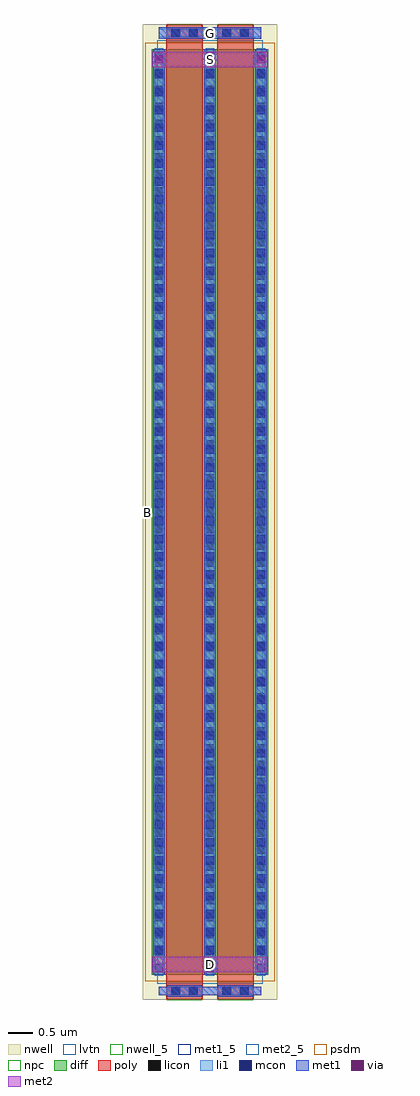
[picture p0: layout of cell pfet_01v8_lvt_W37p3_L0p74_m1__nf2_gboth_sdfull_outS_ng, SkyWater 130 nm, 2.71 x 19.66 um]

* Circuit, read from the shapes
.subckt pfet_01v8_lvt_W37p3_L0p74_m1__nf2_gboth_sdfull_outS_ng B D G S
XM1 D G S B sky130_fd_pr__pfet_01v8_lvt w=18.65 l=0.74 m=2
.ends

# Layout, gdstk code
import gdstk
lib = gdstk.Library(unit=1e-6, precision=1e-09)
def R(c, l, rs):  # rectangles x0, y0, x1, y1
    for r in rs: c.add(gdstk.rectangle(r[:2], r[2:], *l))
def A(c, l, x, y, w, h, nx, ny, dx, dy):  # array of equal rectangles
    R(c, l, [(x+i*dx, y+j*dy, x+i*dx+w, y+j*dy+h) for i in range(nx) for j in range(ny)])
nwell_5 = (64, 5)
nwell = (64, 20)
diff = (65, 20)
poly = (66, 20)
licon = (66, 44)
li1 = (67, 20)
mcon = (67, 44)
met1_5 = (68, 5)
met1 = (68, 20)
via = (68, 44)
met2_5 = (69, 5)
met2 = (69, 20)
psdm = (94, 20)
npc = (95, 20)
lvtn = (125, 44)

sky130_fd_pr__pfet_01v8_ = lib.new_cell('sky130_fd_pr__pfet_01v8_lvt_AA4QHS')
R(sky130_fd_pr__pfet_01v8_, nwell, [(-1.355,-9.825,1.355,9.825)])
R(sky130_fd_pr__pfet_01v8_, diff, [(-1.175,-9.325,1.175,9.325)])
R(sky130_fd_pr__pfet_01v8_, poly, [(-0.885,-9.81,-0.145,9.81), (0.145,-9.81,0.885,9.81)])
A(sky130_fd_pr__pfet_01v8_, licon, -1.115, -9.265, 0.17, 0.17, 3, 55, 1.03, 0.34)
R(sky130_fd_pr__pfet_01v8_, licon, [(-0.77,-9.73,-0.6,-9.56), (-0.43,-9.73,-0.26,-9.56), (0.26,-9.73,0.43,-9.56), (0.6,-9.73,0.77,-9.56), (-0.77,9.56,-0.6,9.73), (-0.43,9.56,-0.26,9.73), (0.26,9.56,0.43,9.73), (0.6,9.56,0.77,9.73)])
A(sky130_fd_pr__pfet_01v8_, li1, -1.115, -9.345, 0.17, 18.69, 3, 1, 1.03, 0)
R(sky130_fd_pr__pfet_01v8_, li1, [(-1.03,-9.73,1.03,-9.56), (-1.03,9.56,1.03,9.73)])
A(sky130_fd_pr__pfet_01v8_, mcon, -1.115, -9.265, 0.17, 0.17, 3, 52, 1.03, 0.36)
R(sky130_fd_pr__pfet_01v8_, mcon, [(-0.78,-9.73,-0.61,-9.56), (-0.42,-9.73,-0.25,-9.56), (0.25,-9.73,0.42,-9.56), (0.61,-9.73,0.78,-9.56), (-0.78,9.56,-0.61,9.73), (-0.42,9.56,-0.25,9.73), (0.25,9.56,0.42,9.73), (0.61,9.56,0.78,9.73)])
A(sky130_fd_pr__pfet_01v8_, met1, -1.145, -9.325, 0.23, 18.65, 3, 1, 1.03, 0)
R(sky130_fd_pr__pfet_01v8_, met1, [(-0.865,-9.76,-0.165,-9.73), (0.165,-9.76,0.865,-9.73), (-1.03,-9.73,1.03,-9.56), (-0.865,-9.56,-0.165,-9.53), (0.165,-9.56,0.865,-9.53), (-0.865,9.53,-0.165,9.56), (0.165,9.53,0.865,9.56), (-1.03,9.56,1.03,9.73), (-0.865,9.73,-0.165,9.76), (0.165,9.73,0.865,9.76)])
R(sky130_fd_pr__pfet_01v8_, psdm, [(-1.3,-9.45,1.3,9.45)])
R(sky130_fd_pr__pfet_01v8_, npc, [(-0.87,-9.83,-0.16,-9.46), (0.16,-9.83,0.87,-9.46), (-0.87,9.46,-0.16,9.83), (0.16,9.46,0.87,9.83)])
R(sky130_fd_pr__pfet_01v8_, lvtn, [(-1.065,-9.505,1.065,9.505)])
sky130_fd_pr__pfet_01v8_.add(gdstk.Label('D0', (-1.03,0), layer=67, texttype=5))
sky130_fd_pr__pfet_01v8_.add(gdstk.Label('G', (0.515,9.645), layer=67, texttype=5))
sky130_fd_pr__pfet_01v8_.add(gdstk.Label('G', (-0.515,9.645), layer=67, texttype=5))
sky130_fd_pr__pfet_01v8_.add(gdstk.Label('S1', (0,0), layer=67, texttype=5))

pfet_01v8_lvt_w37p3_l0p7 = lib.new_cell('pfet_01v8_lvt_W37p3_L0p74_m1__nf2_gboth_sdfull_outS_ng')
R(pfet_01v8_lvt_w37p3_l0p7, nwell_5, [(0.05,9.775,0.15,9.875)])
R(pfet_01v8_lvt_w37p3_l0p7, nwell, [(0.05,9.775,0.15,9.875)])
R(pfet_01v8_lvt_w37p3_l0p7, met1_5, [(0.325,19.355,2.385,19.585)])
R(pfet_01v8_lvt_w37p3_l0p7, met1, [(1.225,0.55,1.485,0.87), (0.195,18.78,0.455,19.1), (2.255,18.78,2.515,19.1), (0.325,19.355,2.385,19.585)])
R(pfet_01v8_lvt_w37p3_l0p7, via, [(1.28,0.635,1.43,0.785), (0.25,18.865,0.4,19.015), (2.31,18.865,2.46,19.015)])
R(pfet_01v8_lvt_w37p3_l0p7, met2_5, [(0.19,0.55,2.52,0.87), (0.19,18.78,2.52,19.1)])
R(pfet_01v8_lvt_w37p3_l0p7, met2, [(0.19,0.55,2.52,0.87), (0.19,18.78,2.52,19.1)])
pfet_01v8_lvt_w37p3_l0p7.add(gdstk.Reference(sky130_fd_pr__pfet_01v8_, (1.355,9.825)))
pfet_01v8_lvt_w37p3_l0p7.add(gdstk.Label('S', (1.355,18.94), layer=69, texttype=5))
pfet_01v8_lvt_w37p3_l0p7.add(gdstk.Label('D', (1.355,0.71), layer=69, texttype=5))
pfet_01v8_lvt_w37p3_l0p7.add(gdstk.Label('G', (1.355,19.47), layer=68, texttype=5))
pfet_01v8_lvt_w37p3_l0p7.add(gdstk.Label('B', (0.1,9.825), layer=64, texttype=5))

lib.write_gds('pfet_01v8_lvt_W37p3_L0p74_m1__nf2_gboth_sdfull_outS_ng.gds')
